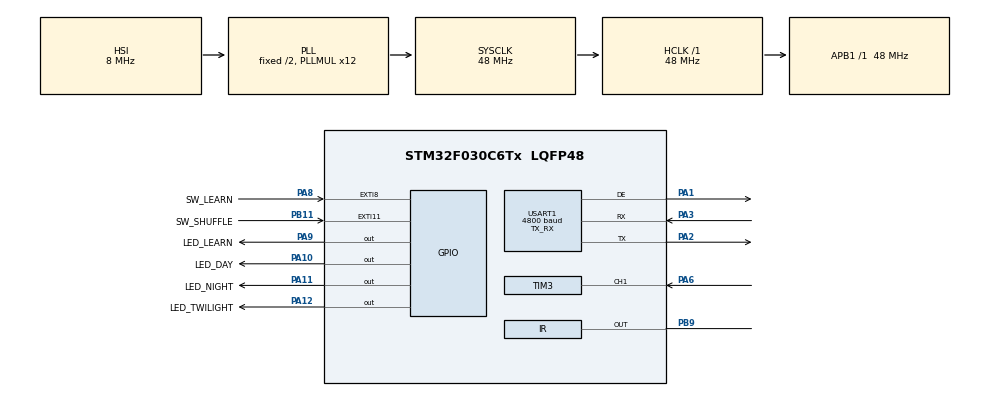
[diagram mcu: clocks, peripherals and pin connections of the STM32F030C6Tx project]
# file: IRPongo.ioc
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Dma.Request0=TIM3_CH1/TRIG
Dma.Request1=TIM16_CH1/UP
Dma.Request2=USART1_RX
Dma.Request3=USART1_TX
Dma.TIM16_CH1/UP.1.Direction=DMA_MEMORY_TO_PERIPH
Dma.TIM16_CH1/UP.1.Instance=DMA1_Channel3
Dma.TIM16_CH1/UP.1.MemDataAlignment=DMA_MDATAALIGN_HALFWORD
Dma.TIM16_CH1/UP.1.MemInc=DMA_MINC_ENABLE
Dma.TIM16_CH1/UP.1.Mode=DMA_NORMAL
Dma.TIM16_CH1/UP.1.PeriphDataAlignment=DMA_PDATAALIGN_HALFWORD
Dma.TIM16_CH1/UP.1.PeriphInc=DMA_PINC_DISABLE
Dma.TIM16_CH1/UP.1.Priority=DMA_PRIORITY_VERY_HIGH
Dma.TIM3_CH1/TRIG.0.Direction=DMA_PERIPH_TO_MEMORY
Dma.TIM3_CH1/TRIG.0.Instance=DMA1_Channel4
Dma.TIM3_CH1/TRIG.0.MemDataAlignment=DMA_MDATAALIGN_HALFWORD
Dma.TIM3_CH1/TRIG.0.MemInc=DMA_MINC_ENABLE
Dma.TIM3_CH1/TRIG.0.Mode=DMA_NORMAL
Dma.TIM3_CH1/TRIG.0.PeriphDataAlignment=DMA_PDATAALIGN_HALFWORD
Dma.TIM3_CH1/TRIG.0.PeriphInc=DMA_PINC_DISABLE
Dma.TIM3_CH1/TRIG.0.Priority=DMA_PRIORITY_LOW
Dma.USART1_RX.2.Direction=DMA_PERIPH_TO_MEMORY
Dma.USART1_RX.2.Instance=DMA1_Channel5
Dma.USART1_RX.2.MemDataAlignment=DMA_MDATAALIGN_BYTE
Dma.USART1_RX.2.MemInc=DMA_MINC_ENABLE
Dma.USART1_RX.2.Mode=DMA_CIRCULAR
Dma.USART1_RX.2.PeriphDataAlignment=DMA_PDATAALIGN_BYTE
Dma.USART1_RX.2.PeriphInc=DMA_PINC_DISABLE
Dma.USART1_RX.2.Priority=DMA_PRIORITY_LOW
Dma.USART1_TX.3.Direction=DMA_MEMORY_TO_PERIPH
Dma.USART1_TX.3.Instance=DMA1_Channel2
Dma.USART1_TX.3.MemDataAlignment=DMA_MDATAALIGN_BYTE
Dma.USART1_TX.3.MemInc=DMA_MINC_ENABLE
Dma.USART1_TX.3.Mode=DMA_NORMAL
Dma.USART1_TX.3.PeriphDataAlignment=DMA_PDATAALIGN_BYTE
Dma.USART1_TX.3.PeriphInc=DMA_PINC_DISABLE
Dma.USART1_TX.3.Priority=DMA_PRIORITY_HIGH
Mcu.Family=STM32F0
Mcu.Name=STM32F030C6Tx
Mcu.Package=LQFP48
NVIC.DMA1_Channel2_3_IRQn=true\:0\:0\:true\:false\:true\:false\:true\:true
NVIC.DMA1_Channel4_5_IRQn=true\:2\:0\:true\:false\:true\:false\:true\:true
NVIC.EXTI4_15_IRQn=true\:0\:0\:true\:false\:true\:true\:true\:true
NVIC.TIM14_IRQn=true\:0\:0\:false\:false\:true\:true\:true\:true
NVIC.TIM16_IRQn=true\:0\:0\:false\:false\:true\:true\:true\:true
NVIC.TIM3_IRQn=true\:0\:0\:false\:false\:true\:true\:true\:true
NVIC.USART1_IRQn=true\:2\:0\:true\:false\:true\:true\:true\:true
PA1.Mode=Hardware Flow Control (RS485)
PA1.Signal=USART1_DE
PA10.GPIO_Label=LED_DAY
PA10.GPIO_PuPd=GPIO_PULLDOWN
PA10.Signal=GPIO_Output
PA11.GPIO_Label=LED_NIGHT
PA11.GPIO_PuPd=GPIO_PULLDOWN
PA11.Signal=GPIO_Output
PA12.GPIO_Label=LED_TWILIGHT
PA12.GPIO_PuPd=GPIO_PULLDOWN
PA12.Signal=GPIO_Output
PA13.Mode=Serial_Wire
PA13.Signal=SYS_SWDIO
PA14.Mode=Serial_Wire
PA14.Signal=SYS_SWCLK
PA2.Mode=Asynchronous
PA2.Signal=USART1_TX
PA3.Mode=Asynchronous
PA3.Signal=USART1_RX
PA6.GPIO_Speed=GPIO_SPEED_FREQ_HIGH
PA6.Signal=S_TIM3_CH1
PA8.GPIO_Label=SW_LEARN
PA8.GPIO_ModeDefaultEXTI=GPIO_MODE_IT_RISING
PA8.GPIO_PuPd=GPIO_PULLDOWN
PA8.Signal=GPXTI8
PA9.GPIO_Label=LED_LEARN
PA9.GPIO_PuPd=GPIO_PULLDOWN
PA9.Signal=GPIO_Output
PB11.GPIO_Label=SW_SHUFFLE
PB11.GPIO_ModeDefaultEXTI=GPIO_MODE_IT_RISING
PB11.GPIO_PuPd=GPIO_PULLDOWN
PB11.Signal=GPXTI11
PB9.GPIO_PuPd=GPIO_PULLDOWN
PB9.Mode=INFRARED
PB9.Signal=IR_OUT
PF0-OSC_IN.Mode=HSE-External-Oscillator
PF0-OSC_IN.Signal=RCC_OSC_IN
PF1-OSC_OUT.Mode=HSE-External-Oscillator
PF1-OSC_OUT.Signal=RCC_OSC_OUT
ProjectManager.HeapSize=0x200
ProjectManager.StackSize=0x400
ProjectManager.TargetToolchain=STM32CubeIDE
RCC.AHBFreq_Value=48000000
RCC.APB1Freq_Value=48000000
RCC.APB1TimFreq_Value=48000000
RCC.HCLKFreq_Value=48000000
RCC.HSE_VALUE=16000000
RCC.PLLMUL=RCC_PLL_MUL12
RCC.SYSCLKFreq_VALUE=48000000
RCC.SYSCLKSource=RCC_SYSCLKSOURCE_PLLCLK
RCC.Usart1ClockSelection=RCC_USART1CLKSOURCE_HSI
SH.S_TIM3_CH1.0=TIM3_CH1,Input_Capture1_from_TI1
SH.S_TIM3_CH1.1=TIM3_CH1,TriggerSource_TI1FP1
TIM14.Period=500
TIM14.Prescaler=48000
TIM16.BreakPolarity=TIM_BREAKPOLARITY_LOW
TIM16.Channel=TIM_CHANNEL_1
TIM16.OC1Preload=DISABLE
TIM16.OCIdleState_1=TIM_OCIDLESTATE_SET
TIM16.OCMode_1=TIM_OCMODE_TOGGLE
TIM16.OCPolarity_1=TIM_OCPOLARITY_LOW
TIM16.OffStateRunMode=TIM_OSSR_DISABLE
TIM16.Period=0xffff
TIM16.Prescaler=95
TIM16.Pulse=0
TIM16.RepetitionCounter=0
TIM17.Channel=TIM_CHANNEL_1
TIM17.OCIdleState_1=TIM_OCIDLESTATE_RESET
TIM17.OCPolarity_1=TIM_OCPOLARITY_HIGH
TIM17.Period=125
TIM17.Prescaler=9
TIM17.Pulse=125 / 2
TIM3.Channel-Input_Capture1_from_TI1=TIM_CHANNEL_1
TIM3.ClockDivision=TIM_CLOCKDIVISION_DIV1
TIM3.ICFilter_CH1=4
TIM3.Period=0xffff
TIM3.Prescaler=699
TIM3.TIM_MasterSlaveMode=TIM_MASTERSLAVEMODE_DISABLE
USART1.BaudRate=4800
USART1.Mode=MODE_TX_RX
USART1.RxPinLevelInvertParam=ADVFEATURE_RXINV_DISABLE
USART1.TxPinLevelInvertParam=ADVFEATURE_TXINV_ENABLE
USART1.VirtualMode-Asynchronous=VM_ASYNC
USART1.VirtualMode-Hardware\ Flow\ Control\ (RS485)=VM_ASYNC
VP_RTC_VS_RTC_Activate.Mode=RTC_Enabled
VP_TIM14_VS_ClockSourceINT.Mode=Enable_Timer
VP_TIM16_VS_ClockSourceINT.Mode=Enable_Timer
VP_TIM16_VS_no_output1.Mode=Output Compare1 No Output
VP_TIM17_VS_ClockSourceINT.Mode=Enable_Timer
VP_TIM17_VS_no_output1.Mode=PWM Generation1 No Output
VP_TIM3_VS_ClockSourceINT.Mode=Internal
VP_TIM3_VS_ControllerModeReset.Mode=Reset Mode
board=custom

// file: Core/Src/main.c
/* USER CODE BEGIN Header */
/**
 ******************************************************************************
 * @file           : main.c
 * @brief          : Main program body
 ******************************************************************************
 * @attention
 *
 * Copyright (c) 2022 STMicroelectronics.
 * All rights reserved.
 *
 * This software is licensed under terms that can be found in the LICENSE file
 * in the root directory of this software component.
 * If no LICENSE file comes with this software, it is provided AS-IS.
 *
 ******************************************************************************
 */
/* USER CODE END Header */
#include "main.h"

/* USER CODE BEGIN Includes */

#define EN_NEC_READ
#define EN_MODBUS
#define NEC_SEND

#include "nec_decode.h"
#include "types.h"
#include "nec_encode.h"
#include "modbus.h"
#include "ir_commands.h"

/* USER CODE END Includes */

/* USER CODE BEGIN PD */

#define IR_DEBOUNCE_S 60	//Send command every x seconds
#define MODBUS_SLAVE_ID 30
#define DEFAULT_IR_ADDRESS 4

#define DEFAULT_DAY_COMMAND IR_WHITE_COMMAND
#define DEFAULT_NIGHT_COMMAND IR_MOON2_COMMAND
#define DEFAULT_TWILIGHT_COMMAND IR_RED_COMMAND

#define R_TIMEOFDAY 40001
#define R_DAYCODE 40002
#define R_NIGHTCODE 40003
#define R_TWILIGHTCODE 40004

/* USER CODE END PD */

RTC_HandleTypeDef hrtc;

TIM_HandleTypeDef htim3;
TIM_HandleTypeDef htim14;
TIM_HandleTypeDef htim16;
TIM_HandleTypeDef htim17;
DMA_HandleTypeDef hdma_tim3_ch1_trig;
DMA_HandleTypeDef hdma_tim16_ch1_up;

UART_HandleTypeDef huart1;
DMA_HandleTypeDef hdma_usart1_rx;
DMA_HandleTypeDef hdma_usart1_tx;

/* USER CODE BEGIN PV */

volatile AppState state = { .mode = CYCLING, .timeOfDay = DAY, .dayFrame = {
		.address = DEFAULT_IR_ADDRESS, .command = DEFAULT_DAY_COMMAND },
		.nightFrame = { .address = 4, .command = DEFAULT_NIGHT_COMMAND },
		.twilightFrame = { .address = 4, .command = DEFAULT_TWILIGHT_COMMAND } };
NEC nec;
uint32_t period_SW_SHUFFLE = 0;
uint32_t period_SW_LEARN = 0;
char OC_count = 0;
volatile ModbusConfig modbus = { .slaveId = MODBUS_SLAVE_ID };

volatile uint32_t irDebouncer = 0;

/* USER CODE END PV */

void SystemClock_Config(void);
static void MX_GPIO_Init(void);
static void MX_DMA_Init(void);
static void MX_IRTIM_Init(void);
static void MX_TIM3_Init(void);
static void MX_TIM14_Init(void);
static void MX_TIM16_Init(void);
static void MX_TIM17_Init(void);
static void MX_USART1_UART_Init(void);
static void MX_RTC_Init(void);
/* USER CODE BEGIN PFP */

void processState(AppState state);
void enterLearningState();
void enterCyclingState();

/* USER CODE END PFP */

/* USER CODE BEGIN 0 */

/**
 * Callback executed when a NEC frame is successfully decoded
 * from the IR receiver. Call NEC_Read beforehand.
 */
void NecDecodedCallback(uint16_t address, uint8_t cmd) {
	if (state.mode != LEARNING)
		return;

	switch (state.timeOfDay) {
	case DAY:
		state.dayFrame.address = address;
		state.dayFrame.command = cmd;
		break;
	case NIGHT:
		state.nightFrame.address = address;
		state.nightFrame.command = cmd;
		break;
	case TWILIGHT:
		state.twilightFrame.address = address;
		state.twilightFrame.command = cmd;
		break;
	}

	return enterCyclingState();

}
/**
 * Callback when a decoded NEC frame is invalid
 */
void NecErrorCallback() {
	// Retry reading
#ifdef EN_NEC_READ
	NEC_Read(&nec);
#endif
}

void NecRepeatCallback() {
#ifdef EN_NEC_READ
	NEC_Read(&nec);
#endif
}

/**
 * Callback executed when the input capture is finished (we captured x bytes)
 */
void HAL_TIM_IC_CaptureCallback(TIM_HandleTypeDef *htim) {
#ifdef EN_NEC_READ
	if (htim == &htim3) {
		// Decode captured data
		NEC_TIM_IC_CaptureCallback(&nec);
	}
#endif
}

void enterLearningState() {
	state.mode = LEARNING;
#ifdef EN_NEC_READ
	HAL_GPIO_WritePin(LED_LEARN_GPIO_Port, LED_LEARN_Pin, GPIO_PIN_SET);

	NEC_Read(&nec);
#endif
}
void enterCyclingState() {
	if (state.mode != CYCLING) {
		state.mode = CYCLING;
		HAL_GPIO_WritePin(LED_LEARN_GPIO_Port, LED_LEARN_Pin, GPIO_PIN_RESET);
#ifdef EN_NEC_READ
		NEC_Stop(&nec);
#endif
		return processState(state);
	}
}

void processState(AppState newState) {
	if (state.mode == CYCLING) {
		state.timeOfDay = newState.timeOfDay;
	}

	HAL_GPIO_WritePin(LED_DAY_GPIO_Port, LED_DAY_Pin, GPIO_PIN_RESET);
	HAL_GPIO_WritePin(LED_NIGHT_GPIO_Port, LED_NIGHT_Pin, GPIO_PIN_RESET);
	HAL_GPIO_WritePin(LED_TWILIGHT_GPIO_Port, LED_TWILIGHT_Pin, GPIO_PIN_RESET);

	//Start the PWM timer for the IR LED
	HAL_TIM_PWM_Start(&htim17, TIM_CHANNEL_1);

	switch (state.timeOfDay) {
	case DAY:
		HAL_GPIO_WritePin(LED_DAY_GPIO_Port, LED_DAY_Pin, GPIO_PIN_SET);
		NEC_Send(&htim16, state.dayFrame.address, state.dayFrame.command);
		break;
	case NIGHT:
		HAL_GPIO_WritePin(LED_NIGHT_GPIO_Port, LED_NIGHT_Pin, GPIO_PIN_SET);
		NEC_Send(&htim16, state.nightFrame.address, state.nightFrame.command);
		break;
	case TWILIGHT:
		HAL_GPIO_WritePin(LED_TWILIGHT_GPIO_Port, LED_TWILIGHT_Pin,
				GPIO_PIN_SET);
		NEC_Send(&htim16, state.twilightFrame.address,
				state.twilightFrame.command);
		break;
	}
}

void HAL_GPIO_EXTI_Callback(uint16_t GPIO_Pin) {

	switch (GPIO_Pin)
	case SW_SHUFFLE_Pin: {
		if (period_SW_SHUFFLE == 0) {
			period_SW_SHUFFLE = HAL_GetTick();
		}
#ifndef DEBUG
		if (HAL_GetTick() - period_SW_SHUFFLE < 250) {
			return;
		} else {
			period_SW_SHUFFLE = HAL_GetTick();
		}
#endif

		IRMode previousMode = state.mode;

		enterCyclingState();

		if (previousMode == LEARNING)
			return;

		switch (state.timeOfDay) {
		case DAY:
			state.timeOfDay = NIGHT;
			break;
		case NIGHT:
			state.timeOfDay = TWILIGHT;
			break;
		case TWILIGHT:
			state.timeOfDay = DAY;
			break;
		}

		processState(state);
		break;
		case SW_LEARN_Pin:

#ifndef DEBUG
		if (period_SW_LEARN == 0) {
			period_SW_LEARN = HAL_GetTick();
		}

		if (HAL_GetTick() - period_SW_LEARN < 250) {
			return;
		} else {
			period_SW_LEARN = HAL_GetTick();
		}
#endif

		enterLearningState();
		break;
	}
}

/**
 * Callback gets called when a timer overflows
 */
void HAL_TIM_PeriodElapsedCallback(TIM_HandleTypeDef *htim) {
	if (htim == &htim14) {
		//500ms passed
		++irDebouncer;

		if (state.mode == LEARNING) {
			HAL_GPIO_TogglePin(LED_LEARN_GPIO_Port, LED_LEARN_Pin);
		}
	}

}

/**
 * Callback gets called when the output compare is executed.
 * This callback is executed for every byte processed by the output compare
 */
void HAL_TIM_OC_DelayElapsedCallback(TIM_HandleTypeDef *htim) {
	++OC_count;
	if (htim == &htim16 && OC_count > NEC_FRAME_LENGTH) {
		OC_count = 0;
		HAL_TIM_OC_Stop_DMA(&htim16, TIM_CHANNEL_1);
		HAL_TIM_PWM_Stop(&htim17, TIM_CHANNEL_1);
	}
}

uint16_t modbus_lib_read_handler(uint16_t la) { // la: logical_address
	return 0; //We do not enable reading registers on this device, only writing
}

int modbus_lib_transport_write(uint8_t *buffer, uint16_t start, uint16_t length) {
#ifdef EN_MODBUS
	HAL_UART_Transmit_DMA(&huart1, buffer, length);
	return 0;
#endif
}

/*
 * This method gets excecuted when a 'write register' command
 * is received from the Modbus
 */
uint16_t modbus_lib_write_handler(uint16_t registerAddress, uint16_t value) {
#ifdef EN_MODBUS

	if (irDebouncer < (IR_DEBOUNCE_S * 2)) { //Ignore commands every x seconds
		return 0;
	}

	irDebouncer = 0;
	AppState newState = state;
	switch (registerAddress) {
	case R_TIMEOFDAY: {
		switch (value) {
		case NIGHT:
			newState.timeOfDay = NIGHT;
			break;
		case TWILIGHT:
			newState.timeOfDay = TWILIGHT;
			break;
		case DAY:
			newState.timeOfDay = DAY;
			break;
		default:
			return -1;
		}

		processState(newState);
		break;
	}
	case R_DAYCODE:
		state.dayFrame.command = value;
		break;
	case R_NIGHTCODE:
		state.nightFrame.command = value;
		break;
	case R_TWILIGHTCODE:
		state.twilightFrame.command = value;
		break;
	}
	return 0; // success

#endif
}

void HAL_UART_RxCpltCallback(UART_HandleTypeDef *huart) {

#ifdef EN_MODBUS

	if (__HAL_UART_GET_FLAG(huart, UART_FLAG_IDLE)) { // Check if it is an "Idle Interrupt"
		__HAL_UART_CLEAR_IDLEFLAG(&huart1);				// clear the interrupt
		modbus.RxCounter++;							// increment the Rx Counter

		const uint16_t start = modbus.RxBfrPos;	// Rx bytes start position (=last buffer position)
		modbus.RxBfrPos = MODBUS_LIB_MAX_BUFFER
				- (uint16_t) huart->hdmarx->Instance->CNDTR;// determine actual buffer position
		uint16_t len = MODBUS_LIB_MAX_BUFFER;		// init len with max. size

		if (modbus.RxRollover < 2) {
			if (modbus.RxRollover) {						// rolled over once
				if (modbus.RxBfrPos <= start)
					len = modbus.RxBfrPos + MODBUS_LIB_MAX_BUFFER - start;// no bytes overwritten
				else
					len = MODBUS_LIB_MAX_BUFFER + 1;// bytes overwritten error
			} else {
				len = modbus.RxBfrPos - start;			// no bytes overwritten
			}
		} else {
			len = MODBUS_LIB_MAX_BUFFER + 2;			// dual rollover error
		}

		if (len && (len <= MODBUS_LIB_MAX_BUFFER)) {
			modbus.start = start;
			modbus.length = len;
			modbus_lib_end_of_telegram(&modbus);
		} else {
			// buffer overflow error:

		}

		modbus.RxRollover = 0;					// reset the Rollover variable
	} else {
		// no idle flag? --> DMA rollover occurred
		modbus.RxRollover++;		// increment Rollover Counter
	}

#endif
}

/* USER CODE END 0 */

int main(void) {

	/* MCU Configuration--------------------------------------------------------*/

	/* Reset of all peripherals, Initializes the Flash interface and the Systick. */
	HAL_Init();

	/* Configure the system clock */
	SystemClock_Config();

	/* Initialize all configured peripherals */
	MX_GPIO_Init();
	MX_DMA_Init();
	MX_IRTIM_Init();
	MX_TIM3_Init();
	MX_TIM14_Init();
	MX_TIM16_Init();
	MX_TIM17_Init();
	MX_USART1_UART_Init();
	MX_RTC_Init();
	/* USER CODE BEGIN 2 */

#ifdef EN_NEC_READ
	nec.timerHandle = &htim3;

	nec.timerChannel = TIM_CHANNEL_1;
	nec.timerChannelActive = HAL_TIM_ACTIVE_CHANNEL_1;

	nec.timingBitBoundary = 134;
	nec.timingAgcBoundary = 400;
	nec.type = NEC_NOT_EXTENDED;

	nec.NEC_DecodedCallback = NecDecodedCallback;
	nec.NEC_ErrorCallback = NecErrorCallback;
	nec.NEC_RepeatCallback = NecRepeatCallback;
#endif

	processState(state);

	/* USER CODE END 2 */

	/* Infinite loop */
	while (1) {

	}
}

void SystemClock_Config(void) {
	RCC_OscInitTypeDef RCC_OscInitStruct = { 0 };
	RCC_ClkInitTypeDef RCC_ClkInitStruct = { 0 };
	RCC_PeriphCLKInitTypeDef PeriphClkInit = { 0 };

	/** Initializes the RCC Oscillators according to the specified parameters
	 * in the RCC_OscInitTypeDef structure.
	 */
	RCC_OscInitStruct.OscillatorType = RCC_OSCILLATORTYPE_HSI
			| RCC_OSCILLATORTYPE_LSI;
	RCC_OscInitStruct.HSIState = RCC_HSI_ON;
	RCC_OscInitStruct.HSICalibrationValue = RCC_HSICALIBRATION_DEFAULT;
	RCC_OscInitStruct.LSIState = RCC_LSI_ON;
	RCC_OscInitStruct.PLL.PLLState = RCC_PLL_ON;
	RCC_OscInitStruct.PLL.PLLSource = RCC_PLLSOURCE_HSI;
	RCC_OscInitStruct.PLL.PLLMUL = RCC_PLL_MUL12;
	RCC_OscInitStruct.PLL.PREDIV = RCC_PREDIV_DIV1;
	if (HAL_RCC_OscConfig(&RCC_OscInitStruct) != HAL_OK) {
		Error_Handler();
	}

	/** Initializes the CPU, AHB and APB buses clocks
	 */
	RCC_ClkInitStruct.ClockType = RCC_CLOCKTYPE_HCLK | RCC_CLOCKTYPE_SYSCLK
			| RCC_CLOCKTYPE_PCLK1;
	RCC_ClkInitStruct.SYSCLKSource = RCC_SYSCLKSOURCE_PLLCLK;
	RCC_ClkInitStruct.AHBCLKDivider = RCC_SYSCLK_DIV1;
	RCC_ClkInitStruct.APB1CLKDivider = RCC_HCLK_DIV1;

	if (HAL_RCC_ClockConfig(&RCC_ClkInitStruct, FLASH_LATENCY_1) != HAL_OK) {
		Error_Handler();
	}
	PeriphClkInit.PeriphClockSelection = RCC_PERIPHCLK_USART1
			| RCC_PERIPHCLK_RTC;
	PeriphClkInit.Usart1ClockSelection = RCC_USART1CLKSOURCE_HSI;
	PeriphClkInit.RTCClockSelection = RCC_RTCCLKSOURCE_LSI;
	if (HAL_RCCEx_PeriphCLKConfig(&PeriphClkInit) != HAL_OK) {
		Error_Handler();
	}
}

static void MX_IRTIM_Init(void) {

}

static void MX_RTC_Init(void) {

	/** Initialize RTC Only
	 */
	hrtc.Instance = RTC;
	hrtc.Init.HourFormat = RTC_HOURFORMAT_24;
	hrtc.Init.AsynchPrediv = 127;
	hrtc.Init.SynchPrediv = 255;
	hrtc.Init.OutPut = RTC_OUTPUT_DISABLE;
	hrtc.Init.OutPutPolarity = RTC_OUTPUT_POLARITY_HIGH;
	hrtc.Init.OutPutType = RTC_OUTPUT_TYPE_OPENDRAIN;
	if (HAL_RTC_Init(&hrtc) != HAL_OK) {
		Error_Handler();
	}

}

static void MX_TIM3_Init(void) {

	TIM_ClockConfigTypeDef sClockSourceConfig = { 0 };
	TIM_SlaveConfigTypeDef sSlaveConfig = { 0 };
	TIM_MasterConfigTypeDef sMasterConfig = { 0 };
	TIM_IC_InitTypeDef sConfigIC = { 0 };

	htim3.Instance = TIM3;
	htim3.Init.Prescaler = 699;
	htim3.Init.CounterMode = TIM_COUNTERMODE_UP;
	htim3.Init.Period = 0xffff;
	htim3.Init.ClockDivision = TIM_CLOCKDIVISION_DIV1;
	htim3.Init.AutoReloadPreload = TIM_AUTORELOAD_PRELOAD_DISABLE;
	if (HAL_TIM_Base_Init(&htim3) != HAL_OK) {
		Error_Handler();
	}
	sClockSourceConfig.ClockSource = TIM_CLOCKSOURCE_INTERNAL;
	if (HAL_TIM_ConfigClockSource(&htim3, &sClockSourceConfig) != HAL_OK) {
		Error_Handler();
	}
	if (HAL_TIM_IC_Init(&htim3) != HAL_OK) {
		Error_Handler();
	}
	sSlaveConfig.SlaveMode = TIM_SLAVEMODE_RESET;
	sSlaveConfig.InputTrigger = TIM_TS_TI1FP1;
	sSlaveConfig.TriggerPolarity = TIM_INPUTCHANNELPOLARITY_RISING;
	sSlaveConfig.TriggerFilter = 0;
	if (HAL_TIM_SlaveConfigSynchro(&htim3, &sSlaveConfig) != HAL_OK) {
		Error_Handler();
	}
	sMasterConfig.MasterOutputTrigger = TIM_TRGO_RESET;
	sMasterConfig.MasterSlaveMode = TIM_MASTERSLAVEMODE_DISABLE;
	if (HAL_TIMEx_MasterConfigSynchronization(&htim3, &sMasterConfig)
			!= HAL_OK) {
		Error_Handler();
	}
	sConfigIC.ICPolarity = TIM_INPUTCHANNELPOLARITY_RISING;
	sConfigIC.ICSelection = TIM_ICSELECTION_DIRECTTI;
	sConfigIC.ICPrescaler = TIM_ICPSC_DIV1;
	sConfigIC.ICFilter = 4;
	if (HAL_TIM_IC_ConfigChannel(&htim3, &sConfigIC, TIM_CHANNEL_1) != HAL_OK) {
		Error_Handler();
	}

}

static void MX_TIM14_Init(void) {

	htim14.Instance = TIM14;
	htim14.Init.Prescaler = 48000;
	htim14.Init.CounterMode = TIM_COUNTERMODE_UP;
	htim14.Init.Period = 500;
	htim14.Init.ClockDivision = TIM_CLOCKDIVISION_DIV1;
	htim14.Init.AutoReloadPreload = TIM_AUTORELOAD_PRELOAD_DISABLE;
	if (HAL_TIM_Base_Init(&htim14) != HAL_OK) {
		Error_Handler();
	}
	/* USER CODE BEGIN TIM14_Init 2 */

	HAL_TIM_Base_Start_IT(&htim14);

	/* USER CODE END TIM14_Init 2 */

}

static void MX_TIM16_Init(void) {

	TIM_OC_InitTypeDef sConfigOC = { 0 };
	TIM_BreakDeadTimeConfigTypeDef sBreakDeadTimeConfig = { 0 };

	htim16.Instance = TIM16;
	htim16.Init.Prescaler = 95;
	htim16.Init.CounterMode = TIM_COUNTERMODE_UP;
	htim16.Init.Period = 0xffff;
	htim16.Init.ClockDivision = TIM_CLOCKDIVISION_DIV1;
	htim16.Init.RepetitionCounter = 0;
	htim16.Init.AutoReloadPreload = TIM_AUTORELOAD_PRELOAD_DISABLE;
	if (HAL_TIM_Base_Init(&htim16) != HAL_OK) {
		Error_Handler();
	}
	if (HAL_TIM_OC_Init(&htim16) != HAL_OK) {
		Error_Handler();
	}
	sConfigOC.OCMode = TIM_OCMODE_TOGGLE;
	sConfigOC.Pulse = 0;
	sConfigOC.OCPolarity = TIM_OCPOLARITY_LOW;
	sConfigOC.OCNPolarity = TIM_OCNPOLARITY_HIGH;
	sConfigOC.OCFastMode = TIM_OCFAST_DISABLE;
	sConfigOC.OCIdleState = TIM_OCIDLESTATE_SET;
	sConfigOC.OCNIdleState = TIM_OCNIDLESTATE_RESET;
	if (HAL_TIM_OC_ConfigChannel(&htim16, &sConfigOC, TIM_CHANNEL_1)
			!= HAL_OK) {
		Error_Handler();
	}
	sBreakDeadTimeConfig.OffStateRunMode = TIM_OSSR_DISABLE;
	sBreakDeadTimeConfig.OffStateIDLEMode = TIM_OSSI_DISABLE;
	sBreakDeadTimeConfig.LockLevel = TIM_LOCKLEVEL_OFF;
	sBreakDeadTimeConfig.DeadTime = 0;
	sBreakDeadTimeConfig.BreakState = TIM_BREAK_DISABLE;
	sBreakDeadTimeConfig.BreakPolarity = TIM_BREAKPOLARITY_LOW;
	sBreakDeadTimeConfig.AutomaticOutput = TIM_AUTOMATICOUTPUT_DISABLE;
	if (HAL_TIMEx_ConfigBreakDeadTime(&htim16, &sBreakDeadTimeConfig)
			!= HAL_OK) {
		Error_Handler();
	}
	/* USER CODE BEGIN TIM16_Init 2 */

	__HAL_DBGMCU_FREEZE_TIM16();

	/* USER CODE END TIM16_Init 2 */

}

static void MX_TIM17_Init(void) {

	TIM_OC_InitTypeDef sConfigOC = { 0 };
	TIM_BreakDeadTimeConfigTypeDef sBreakDeadTimeConfig = { 0 };

	htim17.Instance = TIM17;
	htim17.Init.Prescaler = 9;
	htim17.Init.CounterMode = TIM_COUNTERMODE_UP;
	htim17.Init.Period = 125;
	htim17.Init.ClockDivision = TIM_CLOCKDIVISION_DIV1;
	htim17.Init.RepetitionCounter = 0;
	htim17.Init.AutoReloadPreload = TIM_AUTORELOAD_PRELOAD_DISABLE;
	if (HAL_TIM_Base_Init(&htim17) != HAL_OK) {
		Error_Handler();
	}
	if (HAL_TIM_PWM_Init(&htim17) != HAL_OK) {
		Error_Handler();
	}
	sConfigOC.OCMode = TIM_OCMODE_PWM1;
	sConfigOC.Pulse = 125 / 2;
	sConfigOC.OCPolarity = TIM_OCPOLARITY_HIGH;
	sConfigOC.OCNPolarity = TIM_OCNPOLARITY_HIGH;
	sConfigOC.OCFastMode = TIM_OCFAST_DISABLE;
	sConfigOC.OCIdleState = TIM_OCIDLESTATE_RESET;
	sConfigOC.OCNIdleState = TIM_OCNIDLESTATE_RESET;
	if (HAL_TIM_PWM_ConfigChannel(&htim17, &sConfigOC, TIM_CHANNEL_1)
			!= HAL_OK) {
		Error_Handler();
	}
	sBreakDeadTimeConfig.OffStateRunMode = TIM_OSSR_DISABLE;
	sBreakDeadTimeConfig.OffStateIDLEMode = TIM_OSSI_DISABLE;
	sBreakDeadTimeConfig.LockLevel = TIM_LOCKLEVEL_OFF;
	sBreakDeadTimeConfig.DeadTime = 0;
	sBreakDeadTimeConfig.BreakState = TIM_BREAK_DISABLE;
	sBreakDeadTimeConfig.BreakPolarity = TIM_BREAKPOLARITY_HIGH;
	sBreakDeadTimeConfig.AutomaticOutput = TIM_AUTOMATICOUTPUT_DISABLE;
	if (HAL_TIMEx_ConfigBreakDeadTime(&htim17, &sBreakDeadTimeConfig)
			!= HAL_OK) {
		Error_Handler();
	}

}

static void MX_USART1_UART_Init(void) {

	huart1.Instance = USART1;
	huart1.Init.BaudRate = 4800;
	huart1.Init.WordLength = UART_WORDLENGTH_8B;
	huart1.Init.StopBits = UART_STOPBITS_1;
	huart1.Init.Parity = UART_PARITY_NONE;
	huart1.Init.Mode = UART_MODE_TX_RX;
	huart1.Init.HwFlowCtl = UART_HWCONTROL_NONE;
	huart1.Init.OverSampling = UART_OVERSAMPLING_16;
	huart1.Init.OneBitSampling = UART_ONE_BIT_SAMPLE_DISABLE;
	huart1.AdvancedInit.AdvFeatureInit = UART_ADVFEATURE_TXINVERT_INIT;
	huart1.AdvancedInit.TxPinLevelInvert = UART_ADVFEATURE_TXINV_ENABLE;
	if (HAL_RS485Ex_Init(&huart1, UART_DE_POLARITY_HIGH, 0, 0) != HAL_OK) {
		Error_Handler();
	}
	/* USER CODE BEGIN USART1_Init 2 */

	__HAL_UART_ENABLE_IT(&huart1, UART_IT_IDLE);  // enable idle line detection
	HAL_UART_Receive_DMA(&huart1, &modbus.RxBuffer[0], MODBUS_LIB_MAX_BUFFER);

	/* USER CODE END USART1_Init 2 */

}

static void MX_DMA_Init(void) {

	/* DMA controller clock enable */
	__HAL_RCC_DMA1_CLK_ENABLE();

	/* DMA interrupt init */
	/* DMA1_Channel2_3_IRQn interrupt configuration */
	HAL_NVIC_SetPriority(DMA1_Channel2_3_IRQn, 0, 0);
	HAL_NVIC_EnableIRQ(DMA1_Channel2_3_IRQn);
	/* DMA1_Channel4_5_IRQn interrupt configuration */
	HAL_NVIC_SetPriority(DMA1_Channel4_5_IRQn, 2, 0);
	HAL_NVIC_EnableIRQ(DMA1_Channel4_5_IRQn);

}

static void MX_GPIO_Init(void) {
	GPIO_InitTypeDef GPIO_InitStruct = { 0 };

	/* GPIO Ports Clock Enable */
	__HAL_RCC_GPIOF_CLK_ENABLE();
	__HAL_RCC_GPIOA_CLK_ENABLE();
	__HAL_RCC_GPIOB_CLK_ENABLE();

	/*Configure GPIO pin Output Level */
	HAL_GPIO_WritePin(GPIOA,
	LED_LEARN_Pin | LED_DAY_Pin | LED_NIGHT_Pin | LED_TWILIGHT_Pin,
			GPIO_PIN_RESET);

	/*Configure GPIO pin : SW_SHUFFLE_Pin */
	GPIO_InitStruct.Pin = SW_SHUFFLE_Pin;
	GPIO_InitStruct.Mode = GPIO_MODE_IT_RISING;
	GPIO_InitStruct.Pull = GPIO_PULLDOWN;
	HAL_GPIO_Init(SW_SHUFFLE_GPIO_Port, &GPIO_InitStruct);

	/*Configure GPIO pin : SW_LEARN_Pin */
	GPIO_InitStruct.Pin = SW_LEARN_Pin;
	GPIO_InitStruct.Mode = GPIO_MODE_IT_RISING;
	GPIO_InitStruct.Pull = GPIO_PULLDOWN;
	HAL_GPIO_Init(SW_LEARN_GPIO_Port, &GPIO_InitStruct);

	/*Configure GPIO pins : LED_LEARN_Pin LED_DAY_Pin LED_NIGHT_Pin LED_TWILIGHT_Pin */
	GPIO_InitStruct.Pin = LED_LEARN_Pin | LED_DAY_Pin | LED_NIGHT_Pin
			| LED_TWILIGHT_Pin;
	GPIO_InitStruct.Mode = GPIO_MODE_OUTPUT_PP;
	GPIO_InitStruct.Pull = GPIO_PULLDOWN;
	GPIO_InitStruct.Speed = GPIO_SPEED_FREQ_LOW;
	HAL_GPIO_Init(GPIOA, &GPIO_InitStruct);

	/*Configure GPIO pin : PB9 */
	GPIO_InitStruct.Pin = GPIO_PIN_9;
	GPIO_InitStruct.Mode = GPIO_MODE_AF_PP;
	GPIO_InitStruct.Pull = GPIO_PULLDOWN;
	GPIO_InitStruct.Speed = GPIO_SPEED_FREQ_HIGH;
	GPIO_InitStruct.Alternate = GPIO_AF0_IR;
	HAL_GPIO_Init(GPIOB, &GPIO_InitStruct);

	/* EXTI interrupt init*/
	HAL_NVIC_SetPriority(EXTI4_15_IRQn, 0, 0);
	HAL_NVIC_EnableIRQ(EXTI4_15_IRQn);

}

void Error_Handler(void) {
	__disable_irq();
	while (1) {
	}
}
